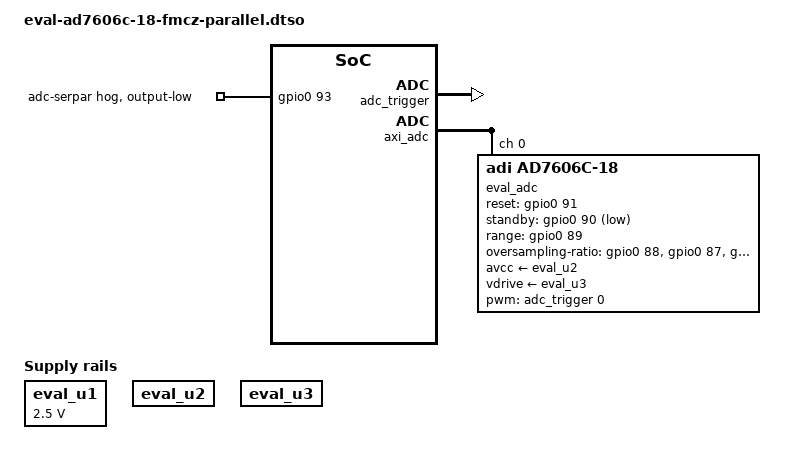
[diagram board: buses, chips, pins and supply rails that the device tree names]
/*
 * Devicetree overlay for Analog Devices EVAL-AD7606C18FMCZ
 * used with HDL project:
 * https://analogdevicesinc.github.io/hdl/projects/ad7606x_fmc/index.html
 */

/dts-v1/;
/plugin/;

#include <dt-bindings/gpio/gpio.h>
#include <dt-bindings/interrupt-controller/irq.h>

&{/} {
	eval_u1: eval-u1-regulator {
		compatible = "regulator-fixed";
		regulator-name = "EVAL board ADR4525BRZ (U1)";
		regulator-min-microvolt = <2500000>;
		regulator-max-microvolt = <2500000>;
		regulator-always-on;
	};

	eval_u2: eval-u2-regulator {
		compatible = "regulator-fixed";
		regulator-name = "EVAL board ADP7118ACPZN5.0 (U2)";
		regulator-always-on;
	};

	eval_u3: eval-u3-regulator {
		compatible = "regulator-fixed";
		regulator-name = "EVAL board ADP7118ACPZN3.3 (U3)";
		regulator-always-on;
	};
};

&amba {
	adc_trigger: pwm@44b00000 {
		compatible = "adi,axi-pwmgen-2.00.a";
		reg = <0x44b00000 0x1000>;
		#pwm-cells = <3>;
		clocks = <&clkc 15>;
		clock-names = "axi";
	};

	rx_dma: dma-controller@44a30000 {
		compatible = "adi,axi-dmac-1.00.a";
		reg = <0x44a30000 0x1000>;
		#dma-cells = <1>;
		interrupts = <0 57 IRQ_TYPE_LEVEL_HIGH>;
		clocks = <&clkc 15>;
	};

	axi_adc: parallel-bus-controller@44a00000 {
		compatible = "adi,axi-ad7606x";
		reg = <0x44a00000 0x1000>;
		dmas = <&rx_dma 0>;
		dma-names = "rx";
		clocks = <&clkc 15>;
		#io-backend-cells = <0>;

		#address-cells = <1>;
		#size-cells = <0>;

		eval_adc: adc@0 {
			compatible = "adi,ad7606c-18";
			reg = <0>;
			io-backends = <&axi_adc>;

			avcc-supply = <&eval_u2>;
			vdrive-supply = <&eval_u3>;

			#trigger-source-cells = <1>;

			pwms = <&adc_trigger 0 100000 0>;

			reset-gpios = <&gpio0 91 GPIO_ACTIVE_HIGH>;
			standby-gpios = <&gpio0 90 GPIO_ACTIVE_LOW>;
			adi,range-gpios = <&gpio0 89 GPIO_ACTIVE_HIGH>;
			adi,oversampling-ratio-gpios = <&gpio0 88 GPIO_ACTIVE_HIGH
							&gpio0 87 GPIO_ACTIVE_HIGH
							&gpio0 86 GPIO_ACTIVE_HIGH>;
			adi,sw-mode;

			channel@1 {
				reg = <1>;
				diff-channels = <1 1>;
				bipolar;
			};

			channel@2 {
				reg = <2>;
				diff-channels = <2 2>;
				bipolar;
			};

			channel@3 {
				reg = <3>;
				diff-channels = <3 3>;
				bipolar;
			};

			channel@4 {
				reg = <4>;
				diff-channels = <4 4>;
				bipolar;
			};

			channel@5 {
				reg = <5>;
				diff-channels = <5 5>;
				bipolar;
			};

			channel@6 {
				reg = <6>;
				diff-channels = <6 6>;
				bipolar;
			};

			channel@7 {
				reg = <7>;
				diff-channels = <7 7>;
				bipolar;
			};

			channel@8 {
				reg = <8>;
				diff-channels = <8 8>;
				bipolar;
			};
		};
	};
};

&gpio0 {
	adc-serpar {
		gpio-hog;
		gpios = <93 GPIO_ACTIVE_HIGH>;
		output-low;
	};
};
